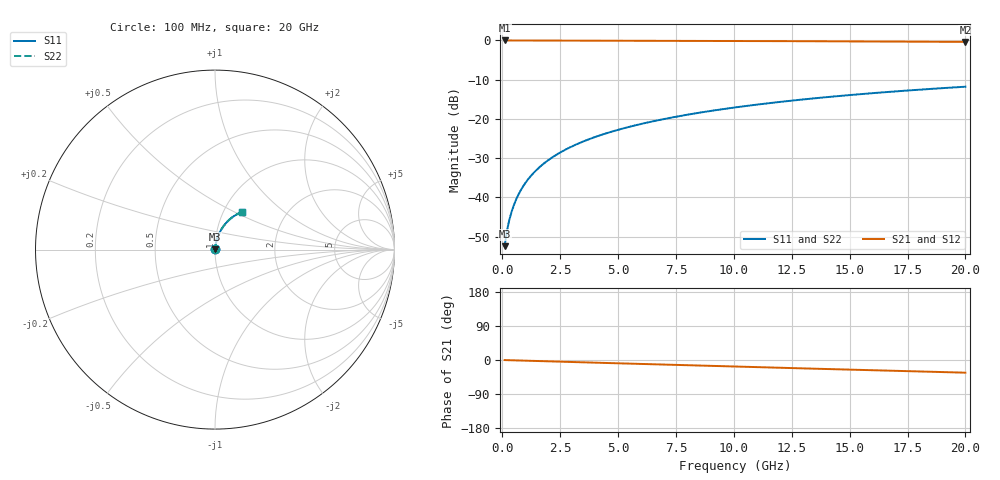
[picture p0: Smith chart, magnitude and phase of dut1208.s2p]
! Touchstone file exported from HFSS 2026.1.0
!  File:  C:/ffzhzh/LocalFiles/Ansys_Project_Files/temp_train_BSMRDL_1208_1783176578_22436.aedt
!  Generated:  10:50:54 PM Jul  4, 2026
!  Design:  BSMRDL
!  Project:  temp_train_BSMRDL_1208_1783176578_22436
! Variables:
!  h_bsmrdl = 5.21um
!  h_ox = 20um
!  h_rdl = 5um
!  h_sub = 80um
!  h_tmrdl = 5um
!  h_tsv = 80um
!  h_via = 3um
!  l_bsmrdl = 514.22um
!  l_sub = 914.22um
!  l_tmrdl = 200um
!  m_sub = 200um
!  pitch = 43.38um
!  r_tsv = 6um
!  s_tmrdl = 10um
!  w_bsmrdl = 23.13um
!  w_sub = 500um
!  w_tmrdl = 12um
!  x_tsv_center1 = 206um
!  x_tsv_center2 = 743.35um
!  x_tsv_center3 = 955.35um
!  x_tsv_center4 = 1492.7um
!  x_tsv_center5 = 1704.7um
!  x_tsv_center6 = 2242.05um
# GHz S MA R 50.000000
! Terminal data exported
! Port[1] = BSM_RDL1_1_T1
! Port[2] = BSM_RDL1_1_T2
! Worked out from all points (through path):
!   200 points, 100 MHz to 20 GHz, reference 50 ohm
!   highest |S21| = -0.01 dB at 100 MHz (marker M1); lowest = -0.4 dB at 20 GHz (marker M2)
!   group delay of S21, straight-line fit = 4.64 ps
!   lowest |S11| = -52.4 dB at 100 MHz (marker M3), VSWR 1.00, Z = 50.2 + j0.169 ohm
!   |S11| at or under -10 dB: start of sweep to end of sweep
!   |S22| runs from -52.4 to -11.8 dB; largest |S21 - S12| = 2.7e-15
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0.1  0.002392 44.7  0.9983 -0.2  0.9983 -0.2  0.002392 44.7
! Gamma 0 0 0 0
! Port Impedance 50 0 50 0
0.2  0.00373 60.2  0.9982 -0.4  0.9982 -0.4  0.00373 60.2
0.3  0.005122 67.3  0.9981 -0.5  0.9981 -0.5  0.005122 67.3
0.4  0.006537 71.5  0.998 -0.7  0.998 -0.7  0.006537 71.5
0.5  0.007973 74.2  0.9979 -0.9  0.9979 -0.9  0.007973 74.2
0.6  0.009424 76.1  0.9979 -1.1  0.9979 -1.1  0.009424 76.1
0.8  0.01236 78.5  0.9978 -1.4  0.9978 -1.4  0.01236 78.5
1.1  0.01679 80.2  0.9976 -2.0  0.9976 -2.0  0.01679 80.2
1.5  0.0227 81.1  0.9973 -2.7  0.9973 -2.7  0.0227 81.1
1.8  0.02711 81.2  0.997 -3.2  0.997 -3.2  0.02711 81.2
2.1  0.0315 81.1  0.9967 -3.7  0.9967 -3.7  0.0315 81.1
2.7  0.04021 80.7  0.996 -4.8  0.996 -4.8  0.04021 80.7
3.5  0.05164 79.7  0.9949 -6.1  0.9949 -6.1  0.05164 79.7
4.2  0.06149 78.7  0.9939 -7.4  0.9939 -7.4  0.0615 78.7
5  0.07261 77.6  0.9927 -8.7  0.9927 -8.7  0.07261 77.6
5.9  0.08495 76.3  0.9912 -10.3  0.9912 -10.3  0.08496 76.2
6.8  0.09715 74.9  0.9897 -11.8  0.9897 -11.8  0.09715 74.9
8.3  0.1171 72.6  0.9869 -14.3  0.9869 -14.3  0.1172 72.6
10.1  0.1406 69.9  0.9832 -17.3  0.9832 -17.3  0.1406 69.9
13.4  0.182 64.8  0.9755 -22.8  0.9755 -22.8  0.182 64.7
16.7  0.2209 59.6  0.9667 -28.2  0.9667 -28.2  0.2209 59.6
20  0.2571 54.6  0.9572 -33.4  0.9572 -33.4  0.2571 54.5
